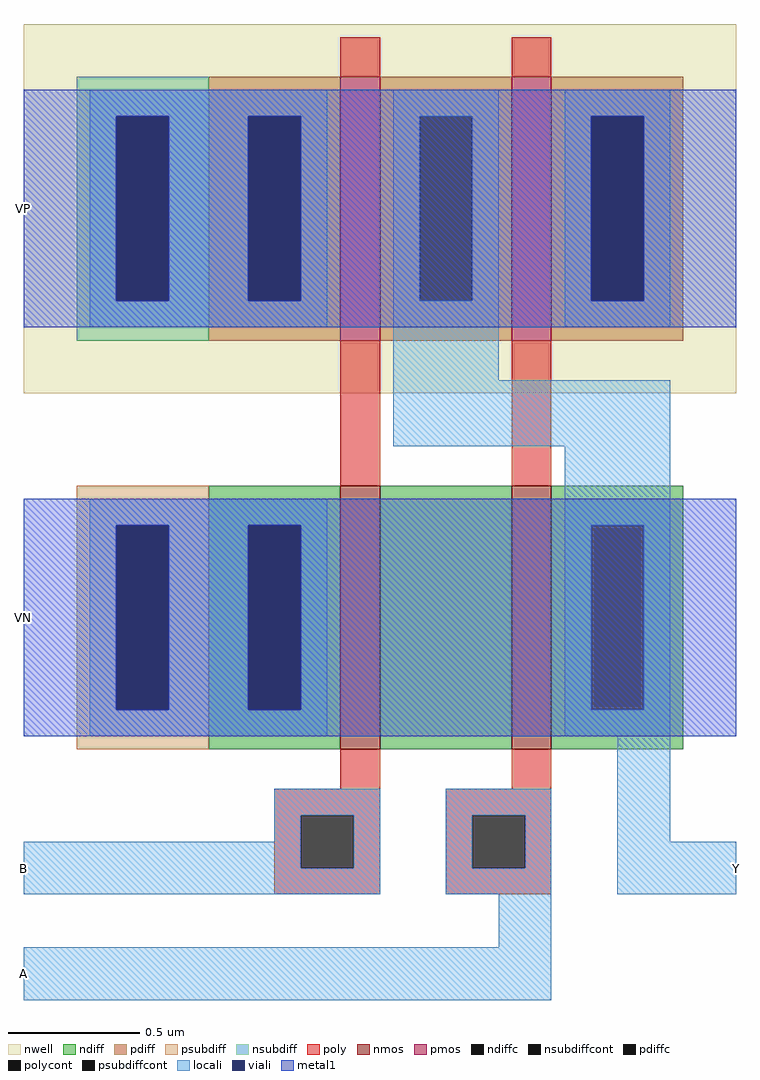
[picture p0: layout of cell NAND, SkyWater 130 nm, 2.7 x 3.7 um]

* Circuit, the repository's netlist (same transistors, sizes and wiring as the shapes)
* NGSPICE file created from NAND.ext - technology: sky130A

.subckt NAND VP A B Y VN
X0 a_40_n670# B VN VN sky130_fd_pr__nfet_01v8 ad=0.25 pd=1.5 as=0.5 ps=3 w=1 l=0.15
X1 Y B VP VP sky130_fd_pr__pfet_01v8 ad=0.25 pd=1.5 as=0.5 ps=3 w=1 l=0.15
X2 Y A a_40_n670# VN sky130_fd_pr__nfet_01v8 ad=0.5 pd=3 as=0.25 ps=1.5 w=1 l=0.15
X3 VP A Y VP sky130_fd_pr__pfet_01v8 ad=0.5 pd=3 as=0.25 ps=1.5 w=1 l=0.15
.ends

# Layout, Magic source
magic
tech sky130A
<< nwell >>
rect -115 -200 155 -60
<< nmos >>
rect 5 -335 20 -235
rect 70 -335 85 -235
<< pmos >>
rect 5 -180 20 -80
rect 70 -180 85 -80
<< ndiff >>
rect -45 -250 5 -235
rect -45 -320 -30 -250
rect -10 -320 5 -250
rect -45 -335 5 -320
rect 20 -335 70 -235
rect 85 -250 135 -235
rect 85 -320 100 -250
rect 120 -320 135 -250
rect 85 -335 135 -320
<< pdiff >>
rect -45 -95 5 -80
rect -45 -165 -30 -95
rect -10 -165 5 -95
rect -45 -180 5 -165
rect 20 -95 70 -80
rect 20 -165 35 -95
rect 55 -165 70 -95
rect 20 -180 70 -165
rect 85 -95 135 -80
rect 85 -165 100 -95
rect 120 -165 135 -95
rect 85 -180 135 -165
<< ndiffc >>
rect -30 -320 -10 -250
rect 100 -320 120 -250
<< pdiffc >>
rect -30 -165 -10 -95
rect 35 -165 55 -95
rect 100 -165 120 -95
<< psubdiff >>
rect -95 -250 -45 -235
rect -95 -320 -80 -250
rect -60 -320 -45 -250
rect -95 -335 -45 -320
<< nsubdiff >>
rect -95 -95 -45 -80
rect -95 -165 -80 -95
rect -60 -165 -45 -95
rect -95 -180 -45 -165
<< psubdiffcont >>
rect -80 -320 -60 -250
<< nsubdiffcont >>
rect -80 -165 -60 -95
<< poly >>
rect 5 -80 20 -65
rect 70 -80 85 -65
rect 5 -235 20 -180
rect 70 -235 85 -180
rect 5 -350 20 -335
rect 70 -350 85 -335
rect -20 -360 20 -350
rect -20 -380 -10 -360
rect 10 -380 20 -360
rect -20 -390 20 -380
rect 45 -360 85 -350
rect 45 -380 55 -360
rect 75 -380 85 -360
rect 45 -390 85 -380
<< polycont >>
rect -10 -380 10 -360
rect 55 -380 75 -360
<< locali >>
rect -90 -95 0 -85
rect -90 -165 -80 -95
rect -60 -165 -30 -95
rect -10 -165 0 -95
rect -90 -175 0 -165
rect 25 -95 65 -85
rect 25 -165 35 -95
rect 55 -165 65 -95
rect 25 -195 65 -165
rect 90 -95 130 -85
rect 90 -165 100 -95
rect 120 -165 130 -95
rect 90 -175 130 -165
rect 25 -220 130 -195
rect -90 -250 0 -240
rect -90 -320 -80 -250
rect -60 -320 -30 -250
rect -10 -320 0 -250
rect -90 -330 0 -320
rect 90 -250 130 -220
rect 90 -320 100 -250
rect 120 -320 130 -250
rect 90 -330 130 -320
rect -20 -360 20 -350
rect -20 -370 -10 -360
rect -115 -380 -10 -370
rect 10 -380 20 -360
rect -115 -390 20 -380
rect 45 -360 85 -350
rect 45 -380 55 -360
rect 75 -380 85 -360
rect 45 -390 85 -380
rect 110 -370 130 -330
rect 110 -390 155 -370
rect 65 -410 85 -390
rect -115 -430 85 -410
<< viali >>
rect -80 -165 -60 -95
rect -30 -165 -10 -95
rect 100 -165 120 -95
rect -80 -320 -60 -250
rect -30 -320 -10 -250
<< metal1 >>
rect -115 -95 155 -85
rect -115 -165 -80 -95
rect -60 -165 -30 -95
rect -10 -165 100 -95
rect 120 -165 155 -95
rect -115 -175 155 -165
rect -115 -250 155 -240
rect -115 -320 -80 -250
rect -60 -320 -30 -250
rect -10 -320 155 -250
rect -115 -330 155 -320
<< labels >>
rlabel locali -115 -420 -115 -420 7 A
port 2 w
rlabel locali -115 -380 -115 -380 7 B
port 3 w
rlabel locali 155 -380 155 -380 3 Y
port 4 e
rlabel metal1 -115 -130 -115 -130 7 VP
port 1 w
rlabel metal1 -115 -285 -115 -285 7 VN
port 5 w
<< end >>
